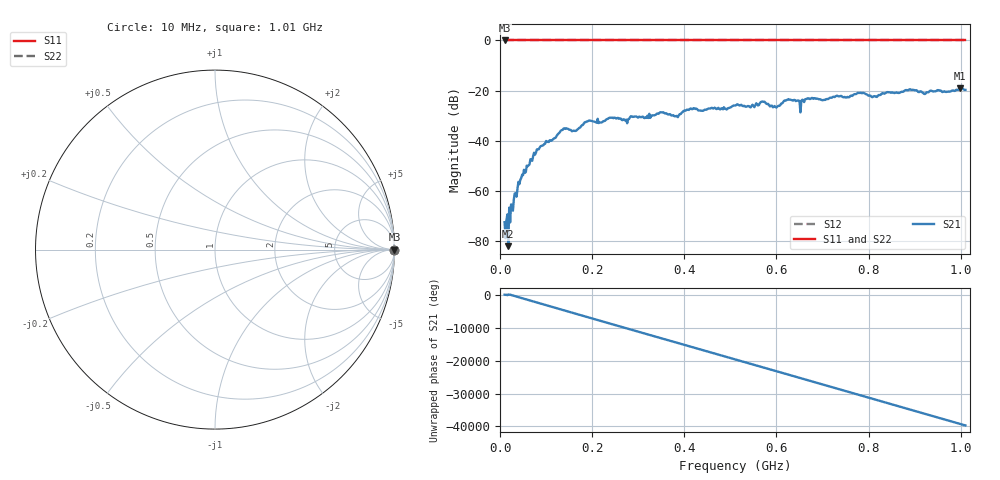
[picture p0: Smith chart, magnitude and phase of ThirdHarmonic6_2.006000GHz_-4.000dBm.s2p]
! 8/17/2025 12:05:32 AM
! C:\ANRITSUVNA\TEMP\TEMP.S2P
! CHANNEL.1
! TR.MEASUREMENT
! RAW.DATA
! RF.CORRECTION.OFF
! AVERAGING.OFF
! IF.BANDWIDTH: 5KHZ
! SWEEPTYPE:  FREQ.SWEEP(Linear)
! Reference Plane Port Info
! PORT:  PORT1  PORT2
! DISTANCE:  0  m  0  m
! TIME:  0  s  0  s
! PHASE.OFFSET:  0  deg.  0  deg.
! LOSS:  0  dB  0  dB
! REF.LOSS:  0  dB  0  dB
! REF.FREQ:  0  Hz  0  Hz
! Power Info
! POWER:  -20  dBm  -20  dBm
! EFF.POWER:  -20  dBm  -20  dBm
! SOURCE.ATTEN:  0  dB  0  dB
! TEST.ATTEN:  0  dB  0  dB
# GHZ S RI R 50.0
! FREQ.GHZ  S11RE  S11IM  S21RE  S21IM  S12RE  S12IM  S22RE  S22IM
!; PortSelection: Port_12
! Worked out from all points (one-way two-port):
!   501 points, 10 MHz to 1.01 GHz, reference 50 ohm
!   highest |S21| = -19.08 dB at 998 MHz (marker M1); lowest = -82.0 dB at 18 MHz (marker M2)
!   lowest |S11| = 0.0 dB at 10 MHz (marker M3)
!   |S11| at or under -10 dB: nowhere
!   |S22| runs from 0.0 to 0.0 dB; largest |S21 - S12| = 1.1
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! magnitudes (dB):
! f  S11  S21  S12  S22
! 10 MHz  0.0  -72.5  0.0  0.0
! 14 MHz  0.0  -71.7  0.0  0.0
! 18 MHz  0.0  -82.0  0.0  0.0
! 44 MHz  0.0  -55.6  0.0  0.0
! 78 MHz  0.0  -44.8  0.0  0.0
! 136 MHz  0.0  -35.7  0.0  0.0
! 162 MHz  0.0  -36.1  0.0  0.0
! 178 MHz  0.0  -33.8  0.0  0.0
! 192 MHz  0.0  -32.1  0.0  0.0
! 274 MHz  0.0  -31.6  0.0  0.0
! 344 MHz  0.0  -29.2  0.0  0.0
! 382 MHz  0.0  -30.2  0.0  0.0
! 416 MHz  0.0  -27.4  0.0  0.0
! 510 MHz  0.0  -25.9  0.0  0.0
! 570 MHz  0.0  -24.3  0.0  0.0
! 596 MHz  0.0  -26.1  0.0  0.0
! 622 MHz  0.0  -23.8  0.0  0.0
! 656 MHz  0.0  -23.7  0.0  0.0
! 678 MHz  0.0  -22.9  0.0  0.0
! 844 MHz  0.0  -20.6  0.0  0.0
! 998 MHz  0.0  -19.1  0.0  0.0
! 1.01 GHz  0.0  -19.7  0.0  0.0
